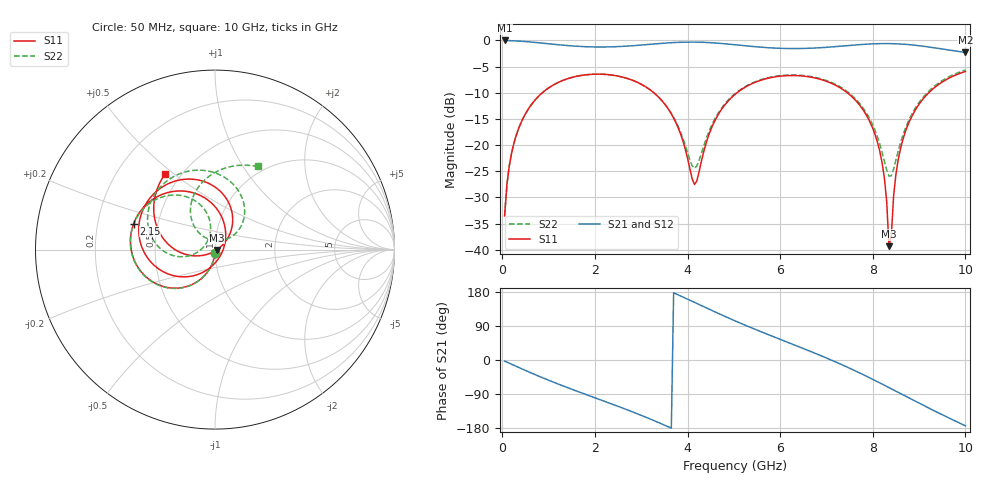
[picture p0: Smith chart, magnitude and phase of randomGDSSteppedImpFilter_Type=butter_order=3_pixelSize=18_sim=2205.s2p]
! freq	dB(S11)	phase(S11)	dB(S12)	phase(S12)
!  dB(S21)	phase(S21)	dB(S22)	phase(S22)
!S-par simulation data
#  GHz  S  DB  R 50
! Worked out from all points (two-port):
!   200 points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, 50 MHz to 10 GHz, reference 50 ohm
!   highest |S21| = -0.01 dB at 50 MHz (marker M1); lowest = -2.3 dB at 10 GHz (marker M2)
!   |S21| within 3 dB of the highest: start of sweep to end of sweep
!   lowest |S11| = -39.3 dB at 8.35 GHz (marker M3), VSWR 1.02, Z = 51.1 - j0.183 ohm
!   |S11| at or under -10 dB: start of sweep to 864.1 MHz; 3.272 GHz to 5.068 GHz (1.796 GHz wide, 43.1 % of centre); 7.452 GHz to 9.208 GHz (1.756 GHz wide, 21.1 % of centre)
!   |S22| runs from -33.5 to -5.7 dB; largest |S21 - S12| = 0
!   S11 on the Smith chart (normalised r, x): 50 MHz: 1.00, -0.04; 2.15 GHz: 0.36, +0.14; 10 GHz: 0.41, +0.47
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0.05  -33.52 -92.9  -0.01 -2.8  -0.01 -2.8  -33.52 -92.9
0.2  -21.55 -101.7  -0.05 -11.2  -0.05 -11.2  -21.55 -101.6
0.5  -14.02 -118.2  -0.21 -27.6  -0.21 -27.6  -14.02 -118.0
1.1  -8.52 -149.0  -0.73 -58.3  -0.73 -58.3  -8.52 -148.5
1.75  -6.63 -179.6  -1.18 -88.5  -1.18 -88.5  -6.63 -178.4
2.15  -6.45 162.2  -1.25 -106.4  -1.25 -106.4  -6.45 164.2
3.4  -11.06 98.3  -0.59 -166.4  -0.59 -166.4  -11.03 110.4
3.8  -16.73 68.5  -0.36 171.8  -0.36 171.8  -16.48 100.2
4.15  -27.50 -20.9  -0.31 152.0  -0.31 152.0  -24.41 146.5
4.55  -16.08 -121.7  -0.46 129.3  -0.46 129.3  -15.66 -166.6
5.05  -10.13 -156.4  -0.85 102.0  -0.85 102.0  -9.99 176.9
5.85  -7.01 161.7  -1.45 61.8  -1.45 61.8  -6.92 140.4
6.7  -7.07 121.0  -1.47 20.5  -1.47 20.5  -6.95 100.1
7.35  -9.35 88.1  -1.07 -13.3  -1.07 -13.3  -9.16 67.3
7.95  -15.78 53.9  -0.67 -48.1  -0.67 -48.1  -15.25 39.8
8.25  -26.22 31.3  -0.60 -66.6  -0.60 -66.6  -23.04 48.4
8.35  -39.30 -9.5  -0.60 -72.9  -0.60 -72.9  -25.91 76.4
8.4  -37.32 -118.2  -0.61 -76.0  -0.61 -76.0  -25.85 96.3
8.55  -22.75 -154.2  -0.66 -85.5  -0.66 -85.5  -21.08 129.6
8.8  -15.30 -171.7  -0.82 -101.4  -0.82 -101.4  -14.83 131.1
9.4  -8.55 153.6  -1.50 -138.5  -1.50 -138.5  -8.28 99.8
10  -5.92 123.2  -2.30 -173.7  -2.30 -173.7  -5.67 62.9
